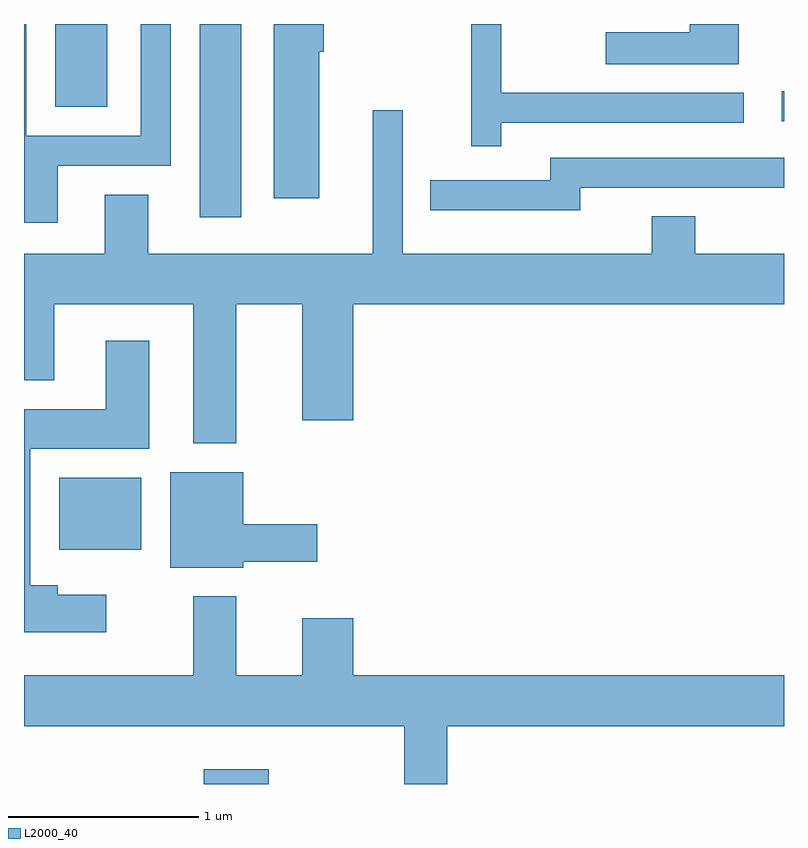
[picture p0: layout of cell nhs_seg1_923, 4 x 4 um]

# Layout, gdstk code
import gdstk
lib = gdstk.Library(unit=1e-6, precision=1e-09)
def R(c, l, rs):  # rectangles x0, y0, x1, y1
    for r in rs: c.add(gdstk.rectangle(r[:2], r[2:], *l))
def P(c, l, *ps):  # polygons
    for p in ps: c.add(gdstk.Polygon(p, *l))
L2000_40 = (2000, 40)

nhs_seg1_923 = lib.new_cell('nhs_seg1_923')
R(nhs_seg1_923, L2000_40, [(214.556,903.712,214.899,903.789), (213.796,904.946,214.229,905.324), (214.536,906.696,214.754,907.712), (217.598,907.201,217.611,907.359), (213.776,907.276,214.049,907.712)])
P(nhs_seg1_923, L2000_40, [(217.374,907.712),(217.116,907.712),(217.116,907.669),(216.673,907.669),(216.673,907.501),(217.374,907.501)],
  [(216.124,907.191),(217.398,907.191),(217.398,907.349),(216.124,907.349),(216.124,907.712),(215.966,907.712),(215.966,907.068),(216.124,907.068)],
  [(213.789,906.966),(214.384,906.966),(214.384,907.712),(214.226,907.712),(214.226,907.124),(213.624,907.124),(213.624,907.712),(213.611,907.712),(213.611,906.666),(213.789,906.666)],
  [(215.164,907.566),(215.189,907.566),(215.189,907.712),(214.926,907.712),(214.926,906.796),(215.164,906.796)],
  [(214.729,906.236),(215.076,906.236),(215.076,905.626),(215.344,905.626),(215.344,906.236),(217.611,906.236),(217.611,906.504),(217.144,906.504),(217.144,906.699),(216.916,906.699),(216.916,906.504),(215.604,906.504),(215.604,907.258),(215.446,907.258),(215.446,906.504),(214.264,906.504),(214.264,906.814),(214.036,906.814),(214.036,906.504),(213.611,906.504),(213.611,905.836),(213.769,905.836),(213.769,906.236),(214.501,906.236),(214.501,905.506),(214.729,905.506)],
  [(216.539,906.851),(217.611,906.851),(217.611,907.009),(216.381,907.009),(216.381,906.889),(215.748,906.889),(215.748,906.731),(216.539,906.731)],
  [(214.044,904.709),(213.789,904.709),(213.789,904.759),(213.644,904.759),(213.644,905.476),(214.269,905.476),(214.269,906.044),(214.041,906.044),(214.041,905.684),(213.611,905.684),(213.611,904.511),(214.044,904.511)],
  [(214.764,904.881),(215.154,904.881),(215.154,905.079),(214.764,905.079),(214.764,905.354),(214.381,905.354),(214.381,904.851),(214.764,904.851)],
  [(215.839,904.016),(217.611,904.016),(217.611,904.284),(215.344,904.284),(215.344,904.584),(215.076,904.584),(215.076,904.284),(214.729,904.284),(214.729,904.699),(214.501,904.699),(214.501,904.284),(213.611,904.284),(213.611,904.016),(215.611,904.016),(215.611,903.712),(215.839,903.712)])

lib.write_gds('nhs_seg1_923.gds')
